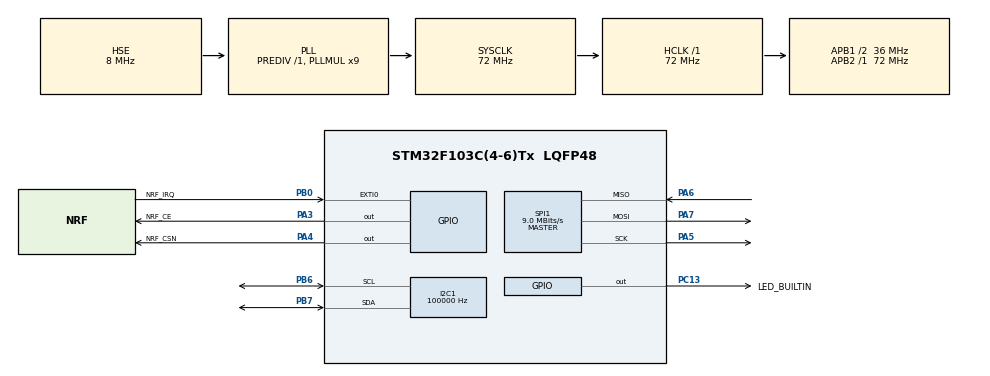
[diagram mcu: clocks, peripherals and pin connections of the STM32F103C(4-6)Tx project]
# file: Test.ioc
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I2C1.ClockSpeed=100000
Mcu.Family=STM32F1
Mcu.Name=STM32F103C(4-6)Tx
Mcu.Package=LQFP48
NVIC.EXTI0_IRQn=true\:0\:0\:false\:false\:true\:true\:true\:true
NVIC.PriorityGroup=NVIC_PRIORITYGROUP_4
NVIC.TIM2_IRQn=true\:0\:0\:false\:false\:true\:true\:true\:true
PA13.Mode=Serial_Wire
PA13.Signal=SYS_JTMS-SWDIO
PA14.Mode=Serial_Wire
PA14.Signal=SYS_JTCK-SWCLK
PA3.GPIO_Label=NRF_CE
PA3.GPIO_Speed=GPIO_SPEED_FREQ_HIGH
PA3.Signal=GPIO_Output
PA4.GPIO_Label=NRF_CSN
PA4.GPIO_Speed=GPIO_SPEED_FREQ_HIGH
PA4.PinState=GPIO_PIN_SET
PA4.Signal=GPIO_Output
PA5.Mode=Full_Duplex_Master
PA5.Signal=SPI1_SCK
PA6.Mode=Full_Duplex_Master
PA6.Signal=SPI1_MISO
PA7.Mode=Full_Duplex_Master
PA7.Signal=SPI1_MOSI
PB0.GPIO_Label=NRF_IRQ
PB0.GPIO_ModeDefaultEXTI=GPIO_MODE_IT_FALLING
PB0.Signal=GPXTI0
PB6.Mode=I2C
PB6.Signal=I2C1_SCL
PB7.Mode=I2C
PB7.Signal=I2C1_SDA
PC13-TAMPER-RTC.GPIO_Label=LED_BUILTIN
PC13-TAMPER-RTC.PinState=GPIO_PIN_SET
PC13-TAMPER-RTC.Signal=GPIO_Output
PC14-OSC32_IN.Mode=LSE-External-Oscillator
PC14-OSC32_IN.Signal=RCC_OSC32_IN
PC15-OSC32_OUT.Mode=LSE-External-Oscillator
PC15-OSC32_OUT.Signal=RCC_OSC32_OUT
PD0-OSC_IN.Mode=HSE-External-Oscillator
PD0-OSC_IN.Signal=RCC_OSC_IN
PD1-OSC_OUT.Mode=HSE-External-Oscillator
PD1-OSC_OUT.Signal=RCC_OSC_OUT
ProjectManager.HeapSize=0x200
ProjectManager.StackSize=0x400
ProjectManager.TargetToolchain=STM32CubeIDE
RCC.ADCPresc=RCC_ADCPCLK2_DIV6
RCC.AHBFreq_Value=72000000
RCC.APB1CLKDivider=RCC_HCLK_DIV2
RCC.APB1Freq_Value=36000000
RCC.APB1TimFreq_Value=72000000
RCC.APB2Freq_Value=72000000
RCC.APB2TimFreq_Value=72000000
RCC.HCLKFreq_Value=72000000
RCC.PLLMUL=RCC_PLL_MUL9
RCC.PLLSourceVirtual=RCC_PLLSOURCE_HSE
RCC.SYSCLKFreq_VALUE=72000000
RCC.SYSCLKSource=RCC_SYSCLKSOURCE_PLLCLK
RCC.USBFreq_Value=48000000
RCC.USBPrescaler=RCC_USBCLKSOURCE_PLL_DIV1_5
SPI1.BaudRatePrescaler=SPI_BAUDRATEPRESCALER_8
SPI1.CalculateBaudRate=9.0 MBits/s
SPI1.Direction=SPI_DIRECTION_2LINES
SPI1.Mode=SPI_MODE_MASTER
SPI1.VirtualType=VM_MASTER
TIM2.Period=10000
TIM2.Prescaler=7200
VP_TIM2_VS_ClockSourceINT.Mode=Internal
board=custom

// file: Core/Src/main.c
/* USER CODE BEGIN Header */
/**
 ******************************************************************************
 * @file           : main.c
 * @brief          : Main program body
 ******************************************************************************
 * @attention
 *
 * Copyright (c) 2023 STMicroelectronics.
 * All rights reserved.
 *
 * This software is licensed under terms that can be found in the LICENSE file
 * in the root directory of this software component.
 * If no LICENSE file comes with this software, it is provided AS-IS.
 *
 ******************************************************************************
 */
/* USER CODE END Header */
#include "main.h"

/* USER CODE BEGIN Includes */
#include "modules/display.h"
#include "modules/reciever.h"
#include <inttypes.h>
/* USER CODE END Includes */

I2C_HandleTypeDef hi2c1;

SPI_HandleTypeDef hspi1;

TIM_HandleTypeDef htim2;

void SystemClock_Config(void);
static void MX_GPIO_Init(void);
static void MX_I2C1_Init(void);
static void MX_TIM2_Init(void);
static void MX_SPI1_Init(void);

/* USER CODE BEGIN 0 */
uint8_t data = 0;
uint16_t digit = 0;
/* USER CODE END 0 */

int main(void) {

	/* MCU Configuration--------------------------------------------------------*/

	/* Reset of all peripherals, Initializes the Flash interface and the Systick. */
	HAL_Init();

	/* Configure the system clock */
	SystemClock_Config();

	/* Initialize all configured peripherals */
	MX_GPIO_Init();
	MX_I2C1_Init();
	MX_TIM2_Init();
	MX_SPI1_Init();
	/* USER CODE BEGIN 2 */
	HAL_Delay(500);
	Display_Init(&hi2c1);
	Reciever_Init(&hspi1);

	Display_Clear();
	Display_PrintText("Test");
	/* USER CODE END 2 */

	/* Infinite loop */
	/* USER CODE BEGIN WHILE */
	while (1) {
		Display_PrintValuePosition(1, 0, digit);
		Display_PrintValuePosition(1, 8, data);
		HAL_Delay(100);
		/* USER CODE END WHILE */

	}
}

void SystemClock_Config(void) {
	RCC_OscInitTypeDef RCC_OscInitStruct = { 0 };
	RCC_ClkInitTypeDef RCC_ClkInitStruct = { 0 };

	/** Initializes the RCC Oscillators according to the specified parameters
	 * in the RCC_OscInitTypeDef structure.
	 */
	RCC_OscInitStruct.OscillatorType = RCC_OSCILLATORTYPE_HSE;
	RCC_OscInitStruct.HSEState = RCC_HSE_ON;
	RCC_OscInitStruct.HSEPredivValue = RCC_HSE_PREDIV_DIV1;
	RCC_OscInitStruct.HSIState = RCC_HSI_ON;
	RCC_OscInitStruct.PLL.PLLState = RCC_PLL_ON;
	RCC_OscInitStruct.PLL.PLLSource = RCC_PLLSOURCE_HSE;
	RCC_OscInitStruct.PLL.PLLMUL = RCC_PLL_MUL9;
	if (HAL_RCC_OscConfig(&RCC_OscInitStruct) != HAL_OK) {
		Error_Handler();
	}

	/** Initializes the CPU, AHB and APB buses clocks
	 */
	RCC_ClkInitStruct.ClockType = RCC_CLOCKTYPE_HCLK | RCC_CLOCKTYPE_SYSCLK
			| RCC_CLOCKTYPE_PCLK1 | RCC_CLOCKTYPE_PCLK2;
	RCC_ClkInitStruct.SYSCLKSource = RCC_SYSCLKSOURCE_PLLCLK;
	RCC_ClkInitStruct.AHBCLKDivider = RCC_SYSCLK_DIV1;
	RCC_ClkInitStruct.APB1CLKDivider = RCC_HCLK_DIV2;
	RCC_ClkInitStruct.APB2CLKDivider = RCC_HCLK_DIV1;

	if (HAL_RCC_ClockConfig(&RCC_ClkInitStruct, FLASH_LATENCY_2) != HAL_OK) {
		Error_Handler();
	}
}

static void MX_I2C1_Init(void) {

	hi2c1.Instance = I2C1;
	hi2c1.Init.ClockSpeed = 100000;
	hi2c1.Init.DutyCycle = I2C_DUTYCYCLE_2;
	hi2c1.Init.OwnAddress1 = 0;
	hi2c1.Init.AddressingMode = I2C_ADDRESSINGMODE_7BIT;
	hi2c1.Init.DualAddressMode = I2C_DUALADDRESS_DISABLE;
	hi2c1.Init.OwnAddress2 = 0;
	hi2c1.Init.GeneralCallMode = I2C_GENERALCALL_DISABLE;
	hi2c1.Init.NoStretchMode = I2C_NOSTRETCH_DISABLE;
	if (HAL_I2C_Init(&hi2c1) != HAL_OK) {
		Error_Handler();
	}

}

static void MX_SPI1_Init(void) {

	/* SPI1 parameter configuration*/
	hspi1.Instance = SPI1;
	hspi1.Init.Mode = SPI_MODE_MASTER;
	hspi1.Init.Direction = SPI_DIRECTION_2LINES;
	hspi1.Init.DataSize = SPI_DATASIZE_8BIT;
	hspi1.Init.CLKPolarity = SPI_POLARITY_LOW;
	hspi1.Init.CLKPhase = SPI_PHASE_1EDGE;
	hspi1.Init.NSS = SPI_NSS_SOFT;
	hspi1.Init.BaudRatePrescaler = SPI_BAUDRATEPRESCALER_8;
	hspi1.Init.FirstBit = SPI_FIRSTBIT_MSB;
	hspi1.Init.TIMode = SPI_TIMODE_DISABLE;
	hspi1.Init.CRCCalculation = SPI_CRCCALCULATION_DISABLE;
	hspi1.Init.CRCPolynomial = 10;
	if (HAL_SPI_Init(&hspi1) != HAL_OK) {
		Error_Handler();
	}

}

static void MX_TIM2_Init(void) {

	TIM_ClockConfigTypeDef sClockSourceConfig = { 0 };
	TIM_MasterConfigTypeDef sMasterConfig = { 0 };

	htim2.Instance = TIM2;
	htim2.Init.Prescaler = 7200;
	htim2.Init.CounterMode = TIM_COUNTERMODE_UP;
	htim2.Init.Period = 10000;
	htim2.Init.ClockDivision = TIM_CLOCKDIVISION_DIV1;
	htim2.Init.AutoReloadPreload = TIM_AUTORELOAD_PRELOAD_DISABLE;
	if (HAL_TIM_Base_Init(&htim2) != HAL_OK) {
		Error_Handler();
	}
	sClockSourceConfig.ClockSource = TIM_CLOCKSOURCE_INTERNAL;
	if (HAL_TIM_ConfigClockSource(&htim2, &sClockSourceConfig) != HAL_OK) {
		Error_Handler();
	}
	sMasterConfig.MasterOutputTrigger = TIM_TRGO_RESET;
	sMasterConfig.MasterSlaveMode = TIM_MASTERSLAVEMODE_DISABLE;
	if (HAL_TIMEx_MasterConfigSynchronization(&htim2, &sMasterConfig)
			!= HAL_OK) {
		Error_Handler();
	}
	/* USER CODE BEGIN TIM2_Init 2 */
	(void) HAL_TIM_Base_Start_IT(&htim2);
	/* USER CODE END TIM2_Init 2 */

}

static void MX_GPIO_Init(void) {
	GPIO_InitTypeDef GPIO_InitStruct = { 0 };

	/* GPIO Ports Clock Enable */
	__HAL_RCC_GPIOC_CLK_ENABLE();
	__HAL_RCC_GPIOD_CLK_ENABLE();
	__HAL_RCC_GPIOA_CLK_ENABLE();
	__HAL_RCC_GPIOB_CLK_ENABLE();

	/*Configure GPIO pin Output Level */
	HAL_GPIO_WritePin(LED_BUILTIN_GPIO_Port, LED_BUILTIN_Pin, GPIO_PIN_SET);

	/*Configure GPIO pin Output Level */
	HAL_GPIO_WritePin(NRF_CE_GPIO_Port, NRF_CE_Pin, GPIO_PIN_RESET);

	/*Configure GPIO pin Output Level */
	HAL_GPIO_WritePin(NRF_CSN_GPIO_Port, NRF_CSN_Pin, GPIO_PIN_SET);

	/*Configure GPIO pin : LED_BUILTIN_Pin */
	GPIO_InitStruct.Pin = LED_BUILTIN_Pin;
	GPIO_InitStruct.Mode = GPIO_MODE_OUTPUT_PP;
	GPIO_InitStruct.Pull = GPIO_NOPULL;
	GPIO_InitStruct.Speed = GPIO_SPEED_FREQ_LOW;
	HAL_GPIO_Init(LED_BUILTIN_GPIO_Port, &GPIO_InitStruct);

	/*Configure GPIO pins : NRF_CE_Pin NRF_CSN_Pin */
	GPIO_InitStruct.Pin = NRF_CE_Pin | NRF_CSN_Pin;
	GPIO_InitStruct.Mode = GPIO_MODE_OUTPUT_PP;
	GPIO_InitStruct.Pull = GPIO_NOPULL;
	GPIO_InitStruct.Speed = GPIO_SPEED_FREQ_HIGH;
	HAL_GPIO_Init(GPIOA, &GPIO_InitStruct);

	/*Configure GPIO pin : NRF_IRQ_Pin */
	GPIO_InitStruct.Pin = NRF_IRQ_Pin;
	GPIO_InitStruct.Mode = GPIO_MODE_IT_FALLING;
	GPIO_InitStruct.Pull = GPIO_NOPULL;
	HAL_GPIO_Init(NRF_IRQ_GPIO_Port, &GPIO_InitStruct);

	/* EXTI interrupt init*/
	HAL_NVIC_SetPriority(EXTI0_IRQn, 0, 0);
	HAL_NVIC_EnableIRQ(EXTI0_IRQn);

}

/* USER CODE BEGIN 4 */
void HAL_TIM_PeriodElapsedCallback(TIM_HandleTypeDef *htim) {
	if (htim == &htim2) {
		HAL_GPIO_TogglePin(LED_BUILTIN_GPIO_Port, LED_BUILTIN_Pin);
	}
}

void HAL_GPIO_EXTI_Callback(uint16_t GPIO_Pin) {
	if (GPIO_Pin == NRF_IRQ_Pin) {
		Reciever_Handler();
	}

}

void Reciever_Callback(uint8_t byte) {
	digit++;
	data = byte;
}
/* USER CODE END 4 */

void Error_Handler(void) {
	__disable_irq();
	while (1) {
	}
}
